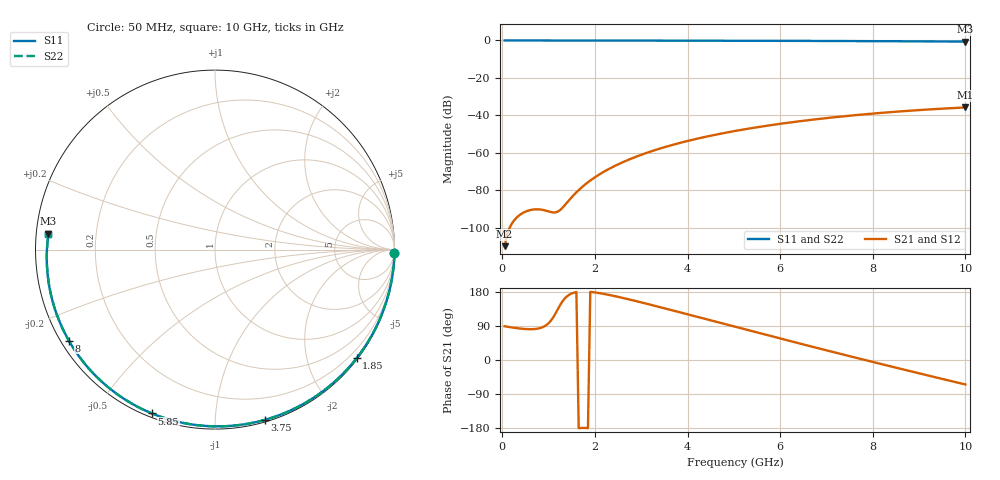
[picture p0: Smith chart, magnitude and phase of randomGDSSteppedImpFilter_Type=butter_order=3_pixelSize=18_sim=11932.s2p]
! freq	dB(S11)	phase(S11)	dB(S12)	phase(S12)
!  dB(S21)	phase(S21)	dB(S22)	phase(S22)
!S-par simulation data
#  GHz  S  DB  R 50
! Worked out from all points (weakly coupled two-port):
!   200 points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, 50 MHz to 10 GHz, reference 50 ohm
!   highest |S21| = -35.81 dB at 10 GHz (marker M1); lowest = -109.9 dB at 50 MHz (marker M2)
!   lowest |S11| = -0.6 dB at 10 GHz (marker M3), VSWR 28.43, Z = 1.76 + j2.38 ohm
!   |S11| at or under -10 dB: nowhere
!   |S22| runs from -0.6 to 0.0 dB; largest |S21 - S12| = 0
!   S11 on the Smith chart (normalised r, x): 50 MHz: open; 1.85 GHz: 0.03, -2.95; 3.75 GHz: 0.02, -1.33; 5.85 GHz: 0.02, -0.69; 8 GHz: 0.02, -0.29; 10 GHz: 0.04, +0.05
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0.05  -0.00 -1.0  -109.92 89.0  -109.92 89.0  -0.00 -1.0
0.4  -0.01 -8.2  -92.83 82.8  -92.83 82.8  -0.01 -8.2
0.8  -0.02 -16.4  -90.27 83.7  -90.27 83.7  -0.02 -16.4
1.2  -0.03 -24.5  -91.43 134.3  -91.43 134.3  -0.03 -24.5
1.65  -0.04 -33.5  -79.94 -179.9  -79.94 -179.9  -0.04 -33.5
1.75  -0.05 -35.5  -77.74 -179.3  -77.74 -179.3  -0.05 -35.5
1.85  -0.05 -37.4  -75.75 -179.7  -75.75 -179.7  -0.05 -37.4
2.15  -0.06 -43.3  -70.78 175.4  -70.78 175.4  -0.06 -43.3
2.5  -0.06 -50.1  -66.21 166.6  -66.21 166.6  -0.06 -50.1
2.9  -0.08 -57.8  -62.02 155.1  -62.02 155.1  -0.08 -57.8
3.4  -0.09 -67.2  -57.79 139.7  -57.79 139.7  -0.09 -67.2
3.75  -0.10 -73.7  -55.30 128.6  -55.30 128.6  -0.10 -73.7
4.4  -0.12 -85.5  -51.42 107.8  -51.42 107.8  -0.12 -85.5
5.05  -0.15 -97.1  -48.26 86.9  -48.26 86.9  -0.15 -97.1
5.85  -0.19 -111.0  -45.07 61.5  -45.07 61.5  -0.19 -111.0
6.7  -0.25 -125.6  -42.33 34.8  -42.33 34.8  -0.25 -125.6
7.35  -0.30 -136.8  -40.57 14.7  -40.57 14.7  -0.30 -136.8
8  -0.36 -148.1  -39.07 -5.1  -39.07 -5.1  -0.36 -148.1
8.35  -0.40 -154.3  -38.36 -15.7  -38.36 -15.7  -0.40 -154.3
9.2  -0.50 -169.9  -36.88 -41.1  -36.88 -41.1  -0.50 -169.8
9.6  -0.55 -177.5  -36.31 -52.9  -36.31 -52.9  -0.55 -177.5
10  -0.61 174.5  -35.81 -64.6  -35.81 -64.6  -0.61 174.6
